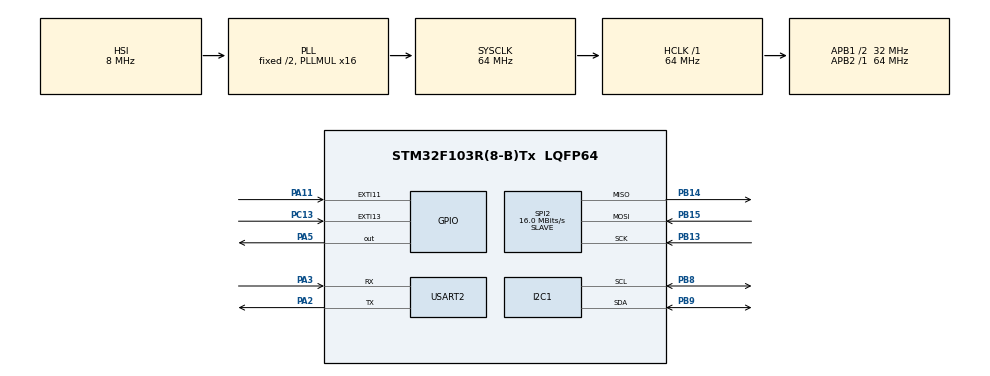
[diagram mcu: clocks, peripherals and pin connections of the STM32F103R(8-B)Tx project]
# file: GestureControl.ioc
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Dma.Request0=USART2_TX
Dma.USART2_TX.0.Direction=DMA_MEMORY_TO_PERIPH
Dma.USART2_TX.0.Instance=DMA1_Channel7
Dma.USART2_TX.0.MemDataAlignment=DMA_MDATAALIGN_HALFWORD
Dma.USART2_TX.0.MemInc=DMA_MINC_ENABLE
Dma.USART2_TX.0.Mode=DMA_NORMAL
Dma.USART2_TX.0.PeriphDataAlignment=DMA_PDATAALIGN_HALFWORD
Dma.USART2_TX.0.PeriphInc=DMA_PINC_DISABLE
Dma.USART2_TX.0.Priority=DMA_PRIORITY_LOW
Mcu.Family=STM32F1
Mcu.Name=STM32F103R(8-B)Tx
Mcu.Package=LQFP64
NVIC.DMA1_Channel7_IRQn=true\:0\:0\:false\:false\:true\:false\:true
NVIC.EXTI15_10_IRQn=true\:3\:0\:true\:false\:true\:true\:true
NVIC.PriorityGroup=NVIC_PRIORITYGROUP_4
NVIC.SPI2_IRQn=true\:1\:0\:true\:false\:true\:true\:true
NVIC.USART2_IRQn=true\:2\:0\:true\:false\:true\:true\:true
PA11.GPIO_ModeDefaultEXTI=GPIO_MODE_IT_RISING
PA11.GPIO_PuPd=GPIO_NOPULL
PA11.Signal=GPXTI11
PA13.Mode=Serial_Wire
PA13.Signal=SYS_JTMS-SWDIO
PA14.Mode=Serial_Wire
PA14.Signal=SYS_JTCK-SWCLK
PA2.GPIO_Mode=GPIO_MODE_AF_PP
PA2.GPIO_PuPd=GPIO_NOPULL
PA2.GPIO_Speed=GPIO_SPEED_FREQ_HIGH
PA2.Mode=Asynchronous
PA2.Signal=USART2_TX
PA3.GPIO_Mode=GPIO_MODE_INPUT
PA3.GPIO_PuPd=GPIO_NOPULL
PA3.GPIO_Speed=GPIO_SPEED_FREQ_LOW
PA3.Mode=Asynchronous
PA3.Signal=USART2_RX
PA5.GPIO_ModeDefaultOutputPP=GPIO_MODE_OUTPUT_PP
PA5.GPIO_PuPd=GPIO_NOPULL
PA5.GPIO_Speed=GPIO_SPEED_FREQ_LOW
PA5.PinState=GPIO_PIN_RESET
PA5.Signal=GPIO_Output
PB13.Mode=Full_Duplex_Slave
PB13.Signal=SPI2_SCK
PB14.Mode=Full_Duplex_Slave
PB14.Signal=SPI2_MISO
PB15.Mode=Full_Duplex_Slave
PB15.Signal=SPI2_MOSI
PB3.Signal=SYS_JTDO-TRACESWO
PB8.Mode=I2C
PB8.Signal=I2C1_SCL
PB9.Mode=I2C
PB9.Signal=I2C1_SDA
PC13-TAMPER-RTC.GPIO_ModeDefaultEXTI=GPIO_MODE_IT_RISING
PC13-TAMPER-RTC.GPIO_PuPd=GPIO_NOPULL
PC13-TAMPER-RTC.Signal=GPXTI13
PC14-OSC32_IN.Signal=RCC_OSC32_IN
PC15-OSC32_OUT.Signal=RCC_OSC32_OUT
PD0-OSC_IN.Mode=HSE-External-Oscillator
PD0-OSC_IN.Signal=RCC_OSC_IN
PD1-OSC_OUT.Mode=HSE-External-Oscillator
PD1-OSC_OUT.Signal=RCC_OSC_OUT
ProjectManager.HeapSize=0x200
ProjectManager.StackSize=0x400
ProjectManager.TargetToolchain=STM32CubeIDE
RCC.AHBFreq_Value=64000000
RCC.APB1CLKDivider=RCC_HCLK_DIV2
RCC.APB1Freq_Value=32000000
RCC.APB1TimFreq_Value=64000000
RCC.APB2Freq_Value=64000000
RCC.APB2TimFreq_Value=64000000
RCC.HCLKFreq_Value=64000000
RCC.PLLMUL=RCC_PLL_MUL16
RCC.RTCClockSelection=RCC_RTCCLKSOURCE_LSE
RCC.SYSCLKFreq_VALUE=64000000
RCC.SYSCLKSource=RCC_SYSCLKSOURCE_PLLCLK
RCC.USBFreq_Value=64000000
SPI2.CalculateBaudRate=16.0 MBits/s
SPI2.Direction=SPI_DIRECTION_2LINES
SPI2.Mode=SPI_MODE_SLAVE
SPI2.VirtualType=VM_SLAVE
USART2.VirtualMode=VM_ASYNC
board=NUCLEO-F103RB

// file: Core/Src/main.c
/* USER CODE BEGIN Header */
/**
  ******************************************************************************
  * @file           : main.c
  * @brief          : Main program body
  ******************************************************************************
  * @attention
  *
  * <h2><center>&copy; Copyright (c) 2020 STMicroelectronics.
  * All rights reserved.</center></h2>
  *
  * This software component is licensed by ST under BSD 3-Clause license,
  * the "License"; You may not use this file except in compliance with the
  * License. You may obtain a copy of the License at:
  *                        opensource.org/licenses/BSD-3-Clause
  *
  ******************************************************************************
  */
/* USER CODE END Header */

#include "main.h"

/* USER CODE BEGIN Includes */
#include <string.h>
#include "../User/DEV_Config/DEV_Config.h"
#include "../User/PAJ7620U2/PAJ7620U2.h"
/* USER CODE END Includes */

I2C_HandleTypeDef hi2c1;

SPI_HandleTypeDef hspi2;

UART_HandleTypeDef huart2;
DMA_HandleTypeDef hdma_usart2_tx;

/* USER CODE BEGIN PV */
char statusAndLast10Gestures[11][4] = {0}; // 0 is master_ready, 1-10 is gestures newest->oldest
char gesture_name[4] = "NON\0";
uint8_t gesture_type = 0;
uint16_t gesture_data = 0;
volatile uint8_t master_ready = 1;
volatile uint8_t uart_flag = 0;
/* USER CODE END PV */

void SystemClock_Config(void);
static void MX_GPIO_Init(void);
static void MX_DMA_Init(void);
static void MX_I2C1_Init(void);
static void MX_USART2_UART_Init(void);
static void MX_SPI2_Init(void);
/* USER CODE BEGIN PFP */
/*
 *@brief PAJ7620U2 Initialization
 */
unsigned char PAJ7620U2_init()
{
	unsigned char i, State, State1;
	DEV_Set_I2CAddress(PAJ7620U2_I2C_ADDRESS);
	DEV_I2C_WriteByte(PAJ_BANK_SELECT, 0);		// Select Bank 0
	DEV_Delay_ms(20);
	State = DEV_I2C_ReadByte(0x00);	// Read State
	State1 = DEV_I2C_ReadByte(0x01);
	if (State != 0x20 || State1 != 0x76)
		return 0;					// Wake up failed

	for (i=0;i< Init_Array;i++)
	{
		 DEV_I2C_WriteByte(Init_Register_Array[i][0], Init_Register_Array[i][1]); //Power up initialize
	}
	DEV_I2C_WriteByte(0x65, 0x12);
	for (i=0; i<Gesture_Array_SIZE; ++i)
	{
	  DEV_I2C_WriteByte(Init_Gesture_Array[i][0], Init_Gesture_Array[i][1]);
	}
	return 1;
}
/*
void uart_read_line(UART_HandleTypeDef* handler, char* buffer, uint16_t buffer_size) {
	HAL_StatusTypeDef status;
	char current_char;
	uint16_t char_counter = 0;
	while(char_counter < buffer_size-1) {
		status = HAL_UART_Receive(handler, &current_char, 1, 100);
		if(status == HAL_OK) {
			if(current_char == '\r' || current_char == '\n')
				if(char_counter == 0) continue;
				else break;
			*(buffer + char_counter++) = current_char;
		}
	}
	*(buffer + char_counter) = '\0';
}

void uart_write_line(UART_HandleTypeDef* handler, char* text) {
	HAL_UART_Transmit(handler, text, strlen(text), 1000);
	HAL_UART_Transmit(handler, "\r\n", 2, 100);

}

uint8_t esp_send_cmd(UART_HandleTypeDef* uart, char* command) {

	char response[30];
	response[0] = '\0';
	uart_write_line(uart, command);
	__HAL_UART_FLUSH_DRREGISTER(&huart1);

	while (strcmp(response, "OK") != 0
		&& strcmp(response, "no change") != 0
		&& strcmp(response, "ERROR") != 0)
		uart_read_line(uart, response, 30);
	if (strcmp(response, "ERROR") == 0) return 0;
	else return 1;

}

unsigned char ESP8266_init()
{
	HAL_Delay(500); // let's wait till module gets up
	if(!esp_send_cmd(&huart1, "AT")) return 0; // ping
	if (!esp_send_cmd(&huart1, "AT+CWMODE=1")) return 0; // configure as WiFi endpoint-device
	if (!esp_send_cmd(&huart1, "AT+CWJAP=\"pennyisafreeloader\",\"BigBangThe0ry\"")) return 0; // connect to guest WiFi at home
	if (!esp_send_cmd(&huart1, "AT+CIPSTART=\"TCP\",\"migu.ovh\",\"5000\"")) return 0; // connect to server hosting python echo script
	return 1;
}*/
/* USER CODE END PFP */

int main(void)
{

  /* MCU Configuration--------------------------------------------------------*/

  /* Reset of all peripherals, Initializes the Flash interface and the Systick. */
  HAL_Init();

  /* Configure the system clock */
  SystemClock_Config();

  /* Initialize all configured peripherals */
  MX_GPIO_Init();
  MX_DMA_Init();
  MX_I2C1_Init();
  MX_USART2_UART_Init();
  MX_SPI2_Init();
  /* USER CODE BEGIN 2 */
  //if(ESP8266_init()) HAL_UART_Transmit(&huart2, "CANT_START_ESP\0", 15, 100);
  HAL_UART_Receive_IT(&huart2, (uint8_t*)&uart_flag, 1); // wait for input from testing PC
  HAL_SPI_Receive_IT(&hspi2, (uint8_t*)&master_ready, 1); // wait for ACK from NodeMCU
  if(!PAJ7620U2_init()) HAL_UART_Transmit_DMA(&huart2, (uint8_t*)statusAndLast10Gestures, sizeof(statusAndLast10Gestures));
  /* USER CODE END 2 */

  /* Infinite loop */
  /* USER CODE BEGIN WHILE */
  while (1)
  {
	  // for testing purposes no IT yet
	  //I2CReadGesture();
	  //HAL_SPI_TransmitReceive(&hspi2, 42, &master_ready, 1, 10); // debug send 42
    /* USER CODE END WHILE */

  }
}

void SystemClock_Config(void)
{
  RCC_OscInitTypeDef RCC_OscInitStruct = {0};
  RCC_ClkInitTypeDef RCC_ClkInitStruct = {0};

  /** Initializes the CPU, AHB and APB busses clocks
  */
  RCC_OscInitStruct.OscillatorType = RCC_OSCILLATORTYPE_HSI;
  RCC_OscInitStruct.HSIState = RCC_HSI_ON;
  RCC_OscInitStruct.HSICalibrationValue = RCC_HSICALIBRATION_DEFAULT;
  RCC_OscInitStruct.PLL.PLLState = RCC_PLL_ON;
  RCC_OscInitStruct.PLL.PLLSource = RCC_PLLSOURCE_HSI_DIV2;
  RCC_OscInitStruct.PLL.PLLMUL = RCC_PLL_MUL16;
  if (HAL_RCC_OscConfig(&RCC_OscInitStruct) != HAL_OK)
  {
    Error_Handler();
  }
  /** Initializes the CPU, AHB and APB busses clocks
  */
  RCC_ClkInitStruct.ClockType = RCC_CLOCKTYPE_HCLK|RCC_CLOCKTYPE_SYSCLK
                              |RCC_CLOCKTYPE_PCLK1|RCC_CLOCKTYPE_PCLK2;
  RCC_ClkInitStruct.SYSCLKSource = RCC_SYSCLKSOURCE_PLLCLK;
  RCC_ClkInitStruct.AHBCLKDivider = RCC_SYSCLK_DIV1;
  RCC_ClkInitStruct.APB1CLKDivider = RCC_HCLK_DIV2;
  RCC_ClkInitStruct.APB2CLKDivider = RCC_HCLK_DIV1;

  if (HAL_RCC_ClockConfig(&RCC_ClkInitStruct, FLASH_LATENCY_2) != HAL_OK)
  {
    Error_Handler();
  }
}

static void MX_I2C1_Init(void)
{

  hi2c1.Instance = I2C1;
  hi2c1.Init.ClockSpeed = 100000;
  hi2c1.Init.DutyCycle = I2C_DUTYCYCLE_2;
  hi2c1.Init.OwnAddress1 = 0;
  hi2c1.Init.AddressingMode = I2C_ADDRESSINGMODE_7BIT;
  hi2c1.Init.DualAddressMode = I2C_DUALADDRESS_DISABLE;
  hi2c1.Init.OwnAddress2 = 0;
  hi2c1.Init.GeneralCallMode = I2C_GENERALCALL_DISABLE;
  hi2c1.Init.NoStretchMode = I2C_NOSTRETCH_DISABLE;
  if (HAL_I2C_Init(&hi2c1) != HAL_OK)
  {
    Error_Handler();
  }

}

static void MX_SPI2_Init(void)
{

  /* SPI2 parameter configuration*/
  hspi2.Instance = SPI2;
  hspi2.Init.Mode = SPI_MODE_SLAVE;
  hspi2.Init.Direction = SPI_DIRECTION_2LINES;
  hspi2.Init.DataSize = SPI_DATASIZE_8BIT;
  hspi2.Init.CLKPolarity = SPI_POLARITY_LOW;
  hspi2.Init.CLKPhase = SPI_PHASE_1EDGE;
  hspi2.Init.NSS = SPI_NSS_SOFT;
  hspi2.Init.BaudRatePrescaler = SPI_BAUDRATEPRESCALER_2;
  hspi2.Init.FirstBit = SPI_FIRSTBIT_MSB;
  hspi2.Init.TIMode = SPI_TIMODE_DISABLE;
  hspi2.Init.CRCCalculation = SPI_CRCCALCULATION_DISABLE;
  hspi2.Init.CRCPolynomial = 10;
  if (HAL_SPI_Init(&hspi2) != HAL_OK)
  {
    Error_Handler();
  }

}

static void MX_USART2_UART_Init(void)
{

  huart2.Instance = USART2;
  huart2.Init.BaudRate = 115200;
  huart2.Init.WordLength = UART_WORDLENGTH_8B;
  huart2.Init.StopBits = UART_STOPBITS_1;
  huart2.Init.Parity = UART_PARITY_NONE;
  huart2.Init.Mode = UART_MODE_TX_RX;
  huart2.Init.HwFlowCtl = UART_HWCONTROL_NONE;
  huart2.Init.OverSampling = UART_OVERSAMPLING_16;
  if (HAL_UART_Init(&huart2) != HAL_OK)
  {
    Error_Handler();
  }

}

static void MX_DMA_Init(void)
{

  /* DMA controller clock enable */
  __HAL_RCC_DMA1_CLK_ENABLE();

  /* DMA interrupt init */
  /* DMA1_Channel7_IRQn interrupt configuration */
  HAL_NVIC_SetPriority(DMA1_Channel7_IRQn, 0, 0);
  HAL_NVIC_EnableIRQ(DMA1_Channel7_IRQn);

}

static void MX_GPIO_Init(void)
{
  GPIO_InitTypeDef GPIO_InitStruct = {0};

  /* GPIO Ports Clock Enable */
  __HAL_RCC_GPIOC_CLK_ENABLE();
  __HAL_RCC_GPIOD_CLK_ENABLE();
  __HAL_RCC_GPIOA_CLK_ENABLE();
  __HAL_RCC_GPIOB_CLK_ENABLE();

  /*Configure GPIO pin Output Level */
  HAL_GPIO_WritePin(GPIOA, GPIO_PIN_5, GPIO_PIN_RESET);

  /*Configure GPIO pin : PC13 */
  GPIO_InitStruct.Pin = GPIO_PIN_13;
  GPIO_InitStruct.Mode = GPIO_MODE_IT_RISING;
  GPIO_InitStruct.Pull = GPIO_NOPULL;
  HAL_GPIO_Init(GPIOC, &GPIO_InitStruct);

  /*Configure GPIO pin : PA5 */
  GPIO_InitStruct.Pin = GPIO_PIN_5;
  GPIO_InitStruct.Mode = GPIO_MODE_OUTPUT_PP;
  GPIO_InitStruct.Pull = GPIO_NOPULL;
  GPIO_InitStruct.Speed = GPIO_SPEED_FREQ_LOW;
  HAL_GPIO_Init(GPIOA, &GPIO_InitStruct);

  /*Configure GPIO pin : PA11 */
  GPIO_InitStruct.Pin = GPIO_PIN_11;
  GPIO_InitStruct.Mode = GPIO_MODE_IT_RISING;
  GPIO_InitStruct.Pull = GPIO_NOPULL;
  HAL_GPIO_Init(GPIOA, &GPIO_InitStruct);

  /* EXTI interrupt init*/
  HAL_NVIC_SetPriority(EXTI15_10_IRQn, 3, 0);
  HAL_NVIC_EnableIRQ(EXTI15_10_IRQn);

}

/* USER CODE BEGIN 4 */

/*
 *@brief UART Receive Callback -- Used for enable/disable algorithm from PC
 */
void HAL_UART_RxCpltCallback(UART_HandleTypeDef *huart)
{
	HAL_UART_Transmit_DMA(&huart2, (uint8_t*)statusAndLast10Gestures, sizeof(statusAndLast10Gestures));
	HAL_UART_Receive_IT(&huart2, (uint8_t*)&uart_flag, 1); // wait for input from testing PC
}

/*
 *@brief SPI Receive Callback -- Used for triggering gesture read and transfer to NodeMCU
 */

void HAL_SPI_RxCpltCallback(SPI_HandleTypeDef *hspi)
{
	master_ready = 0;
	I2CReadGesture();
	HAL_SPI_Transmit(&hspi2, &gesture_type, 1, 10);
	HAL_SPI_Receive_IT(&hspi2, &master_ready, 1); // re-enable wait for ACK from NodeMCU
}

// I2CReadGesture - called by GPIO_PIN_11 EXTI ISR - incoming INT from gesture sensor
void I2CReadGesture()
{
	statusAndLast10Gestures[0][0] = master_ready;
	gesture_data = DEV_I2C_ReadWord(PAJ_INT_FLAG1);
	if (gesture_data)
	{
		gesture_type = gesture_data;
		switch (gesture_data)
		{
			case PAJ_UP:			  	strcpy(gesture_name, "U\0");	break;
			case PAJ_DOWN:				strcpy(gesture_name, "D\0");	break;
			case PAJ_LEFT:				strcpy(gesture_name, "L\0");	break;
			case PAJ_RIGHT:				strcpy(gesture_name, "R\0"); 	break;
			case PAJ_FORWARD:			strcpy(gesture_name, "FW\0");	break;
			case PAJ_BACKWARD:			strcpy(gesture_name, "BW\0"); 	break;
			case PAJ_CLOCKWISE:			strcpy(gesture_name, "CW\0"); 	break;
			case PAJ_COUNT_CLOCKWISE:	strcpy(gesture_name, "CCW\0"); 	break;
			default:
				 gesture_data=DEV_I2C_ReadByte(PAJ_INT_FLAG2);
				 if(gesture_data == PAJ_WAVE) strcpy(gesture_name, "WAV\0");
				 break;
		}
		memmove(&statusAndLast10Gestures[2], &statusAndLast10Gestures[1], 4*8*sizeof(char)); // last element gets overwritten
		//memmove(&statusAndLast10Gestures[2], &statusAndLast10Gestures[1], (sizeof(statusAndLast10Gestures)-2*4*sizeof(char))); // last element gets overwritten
		strcpy(statusAndLast10Gestures[1], gesture_name); // save new gesture
		HAL_Delay(50);
		HAL_UART_Transmit(&huart2, (uint8_t*)&gesture_name, sizeof(gesture_name), 0xFFFF);
	}
}
/* USER CODE END 4 */

void Error_Handler(void)
{
}

/************************ (C) COPYRIGHT STMicroelectronics *****END OF FILE****/
